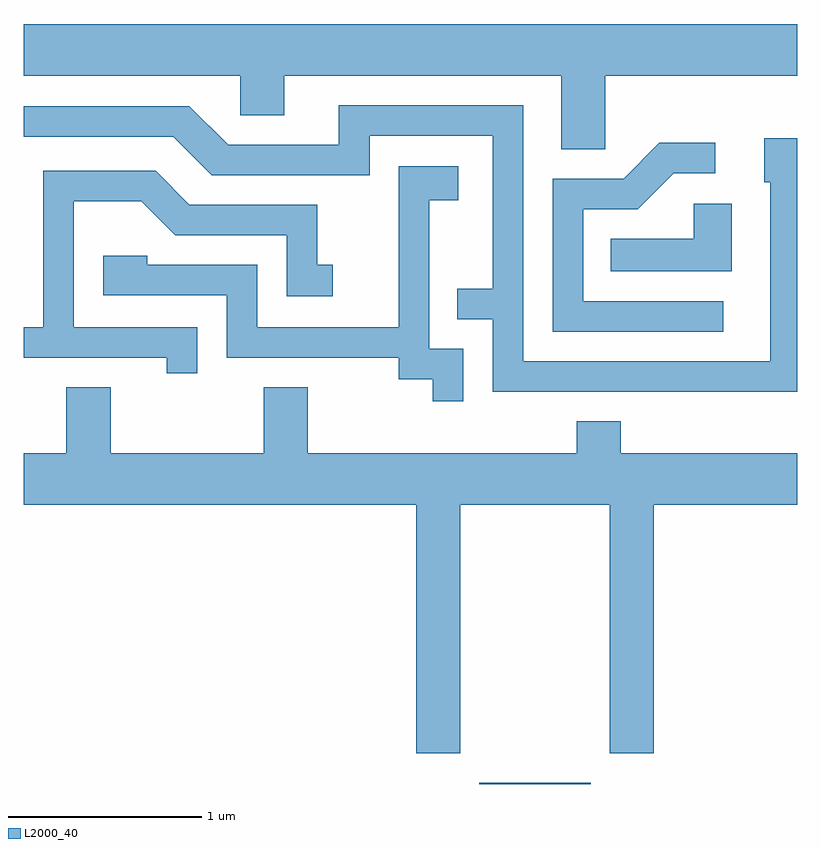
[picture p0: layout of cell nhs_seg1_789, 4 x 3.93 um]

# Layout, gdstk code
import gdstk
lib = gdstk.Library(unit=1e-6, precision=1e-09)
def R(c, l, rs):  # rectangles x0, y0, x1, y1
    for r in rs: c.add(gdstk.rectangle(r[:2], r[2:], *l))
def P(c, l, *ps):  # polygons
    for p in ps: c.add(gdstk.Polygon(p, *l))
L2000_40 = (2000, 40)

nhs_seg1_789 = lib.new_cell('nhs_seg1_789')
R(nhs_seg1_789, L2000_40, [(211.966,873.712,212.544,873.719)])
P(nhs_seg1_789, L2000_40, [(212.619,877.376),(213.611,877.376),(213.611,877.644),(209.611,877.644),(209.611,877.376),(210.731,877.376),(210.731,877.171),(210.959,877.171),(210.959,877.376),(212.391,877.376),(212.391,876.996),(212.619,876.996)],
  [(213.611,877.054),(213.441,877.054),(213.441,876.826),(213.471,876.826),(213.471,875.899),(212.194,875.899),(212.194,877.224),(211.241,877.224),(211.241,877.019),(210.667,877.019),(210.467,877.219),(209.611,877.219),(209.611,877.061),(210.384,877.061),(210.584,876.861),(211.399,876.861),(211.399,877.066),(212.036,877.066),(212.036,876.274),(211.853,876.274),(211.853,876.116),(212.036,876.116),(212.036,875.741),(213.611,875.741)],
  [(213.228,876.209),(212.504,876.209),(212.504,876.686),(212.787,876.686),(212.972,876.871),(213.188,876.871),(213.188,877.029),(212.899,877.029),(212.714,876.844),(212.346,876.844),(212.346,876.051),(213.228,876.051)],
  [(211.884,875.964),(211.709,875.964),(211.709,876.731),(211.859,876.731),(211.859,876.909),(211.551,876.909),(211.551,876.074),(210.819,876.074),(210.819,876.399),(210.249,876.399),(210.249,876.444),(210.021,876.444),(210.021,876.241),(210.661,876.241),(210.661,875.916),(211.551,875.916),(211.551,875.806),(211.726,875.806),(211.726,875.693),(211.884,875.693)],
  [(210.509,876.074),(209.869,876.074),(209.869,876.726),(210.219,876.726),(210.394,876.551),(210.971,876.551),(210.971,876.236),(211.208,876.236),(211.208,876.399),(211.129,876.399),(211.129,876.709),(210.467,876.709),(210.292,876.884),(209.711,876.884),(209.711,876.074),(209.611,876.074),(209.611,875.916),(210.351,875.916),(210.351,875.838),(210.509,875.838)],
  [(213.274,876.714),(213.076,876.714),(213.076,876.534),(212.648,876.534),(212.648,876.366),(213.274,876.366)],
  [(211.869,875.156),(212.641,875.156),(212.641,873.871),(212.869,873.871),(212.869,875.156),(213.611,875.156),(213.611,875.424),(212.699,875.424),(212.699,875.589),(212.471,875.589),(212.471,875.424),(211.079,875.424),(211.079,875.764),(210.851,875.764),(210.851,875.424),(210.059,875.424),(210.059,875.764),(209.831,875.764),(209.831,875.424),(209.611,875.424),(209.611,875.156),(211.641,875.156),(211.641,873.871),(211.869,873.871)])

lib.write_gds('nhs_seg1_789.gds')
